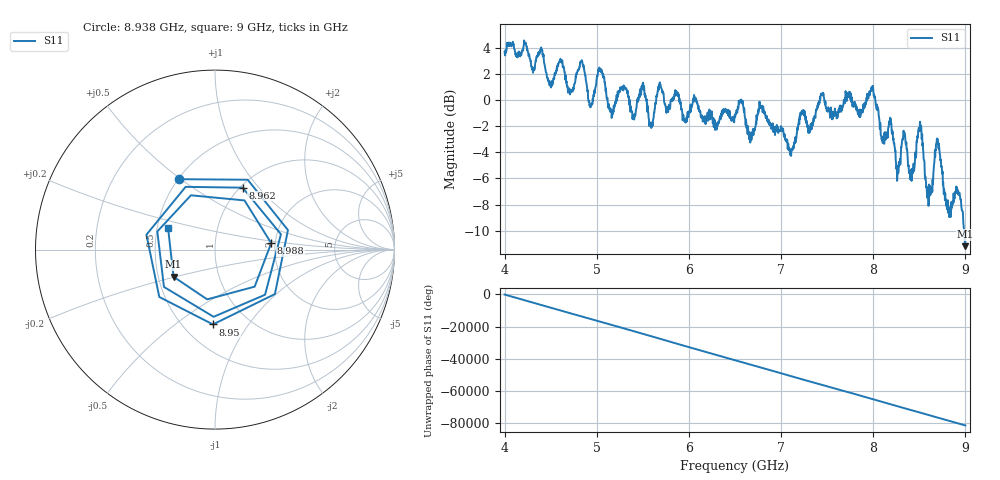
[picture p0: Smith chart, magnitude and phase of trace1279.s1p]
! Created with skrf 1.8.0 (http://scikit-rf.org).
# Hz S RI R 50.0
!freq ReS11 ImS11
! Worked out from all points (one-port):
!   1601 points, 4 GHz to 9 GHz, reference 50 ohm
!   lowest |S11| = -11.2 dB at 8.997 GHz (marker M1), VSWR 1.76, Z = 30 - j9.84 ohm
!   |S11| at or under -10 dB: 8.987012 GHz to end of sweep
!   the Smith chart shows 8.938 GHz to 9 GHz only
!   S11 on the Smith chart (normalised r, x): 8.938 GHz: 0.51, +0.49; 8.95 GHz: 0.69, -0.70; 8.962 GHz: 1.03, +0.83; 8.988 GHz: 1.90, +0.15; 9 GHz: 0.57, +0.15
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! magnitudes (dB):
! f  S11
! 4 GHz  3.7
! 4.625 GHz  3.0
! 4.712 GHz  0.7
! 4.844 GHz  2.9
! 4.931 GHz  -0.6
! 5.038 GHz  2.3
! 5.15 GHz  -0.6
! 5.25 GHz  0.6
! 5.591 GHz  -2.1
! 5.681 GHz  1.0
! 5.875 GHz  0.5
! 6.5 GHz  -1.3
! 7.125 GHz  -3.8
! 7.225 GHz  -0.8
! 7.75 GHz  0.1
! 7.994 GHz  1.0
! 8.269 GHz  -5.5
! 8.375 GHz  -4.6
! 8.506 GHz  -1.8
! 8.6 GHz  -8.1
! 8.7 GHz  -3.3
! 8.816 GHz  -8.4
! 8.938 GHz  -7.1
! 8.95 GHz  -7.6
! 8.962 GHz  -8.5
! 8.988 GHz  -10.0
! 8.997 GHz  -11.2
! 9 GHz  -10.8
